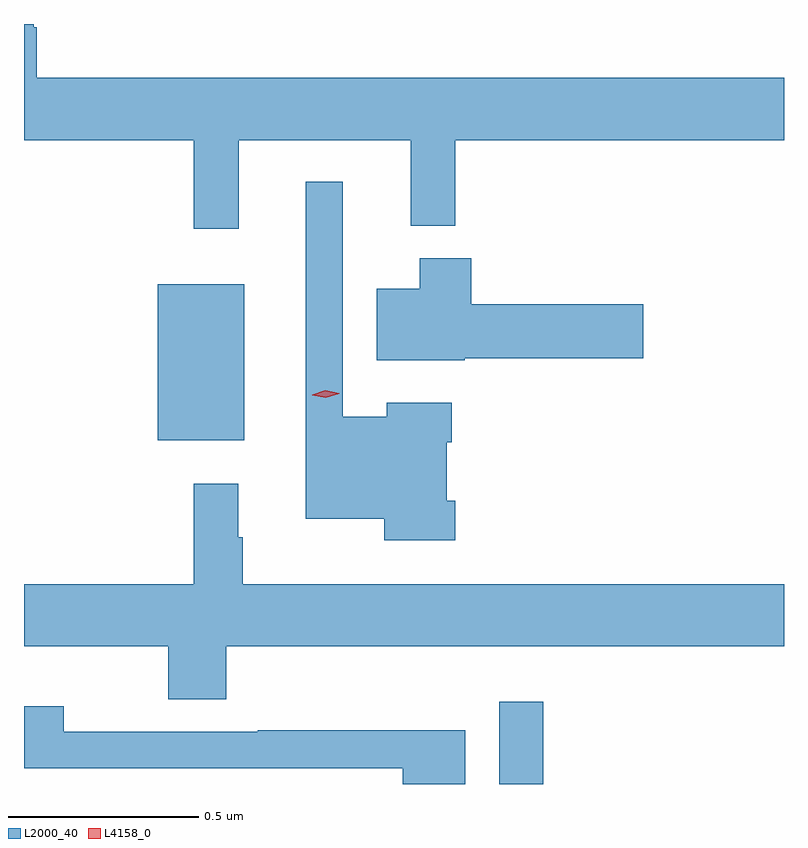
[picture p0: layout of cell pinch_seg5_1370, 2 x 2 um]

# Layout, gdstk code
import gdstk
lib = gdstk.Library(unit=1e-6, precision=1e-09)
def R(c, l, rs):  # rectangles x0, y0, x1, y1
    for r in rs: c.add(gdstk.rectangle(r[:2], r[2:], *l))
def P(c, l, *ps):  # polygons
    for p in ps: c.add(gdstk.Polygon(p, *l))
L2000_40 = (2000, 40)
L4158_0 = (4158, 0)

pinch_seg5_1370 = lib.new_cell('pinch_seg5_1370')
R(pinch_seg5_1370, L2000_40, [(352.944,887.034,353.06,887.251), (352.046,887.939,352.273,888.349)])
P(pinch_seg5_1370, L2000_40, [(351.727,889.025),(351.719,889.025),(351.719,889.034),(351.694,889.034),(351.694,888.728),(352.141,888.728),(352.141,888.495),(352.259,888.495),(352.259,888.728),(352.712,888.728),(352.712,888.503),(352.829,888.503),(352.829,888.728),(353.694,888.728),(353.694,888.892),(351.727,888.892)],
  [(352.829,887.779),(352.807,887.779),(352.807,887.933),(352.82,887.933),(352.82,888.037),(352.649,888.037),(352.649,888.001),(352.533,888.001),(352.533,888.619),(352.436,888.619),(352.436,887.732),(352.642,887.732),(352.642,887.675),(352.829,887.675)],
  [(352.854,888.155),(353.323,888.155),(353.323,888.297),(352.871,888.297),(352.871,888.418),(352.736,888.418),(352.736,888.337),(352.622,888.337),(352.622,888.149),(352.854,888.149)],
  [(352.226,887.396),(353.694,887.396),(353.694,887.56),(352.27,887.56),(352.27,887.684),(352.258,887.684),(352.258,887.824),(352.141,887.824),(352.141,887.56),(351.694,887.56),(351.694,887.396),(352.073,887.396),(352.073,887.257),(352.226,887.257)],
  [(352.855,887.175),(352.309,887.175),(352.309,887.172),(351.799,887.172),(351.799,887.239),(351.694,887.239),(351.694,887.076),(352.691,887.076),(352.691,887.034),(352.855,887.034)])
P(pinch_seg5_1370, L4158_0, [(352.488,888.05),(352.452,888.057),(352.452,888.057),(352.452,888.058),(352.487,888.07),(352.523,888.062),(352.523,888.062),(352.523,888.061)])

lib.write_gds('pinch_seg5_1370.gds')
